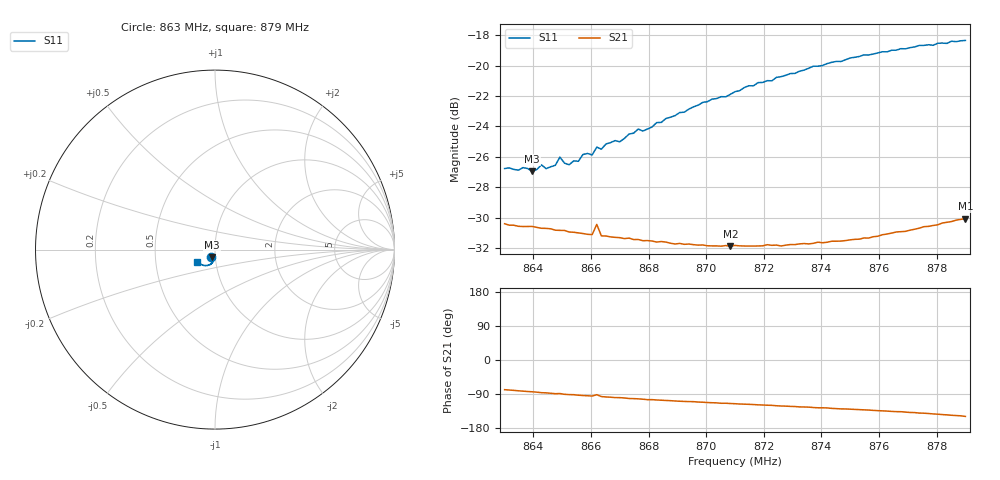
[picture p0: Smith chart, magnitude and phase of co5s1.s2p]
# HZ S RI R 50
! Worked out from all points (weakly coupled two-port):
!   101 points, 863 MHz to 879 MHz, reference 50 ohm
!   highest |S21| = -30.07 dB at 879 MHz (marker M1); lowest = -31.9 dB at 870.84 MHz (marker M2)
!   lowest |S11| = -27.0 dB at 863.96 MHz (marker M3), VSWR 1.09, Z = 48.2 - j4.03 ohm
!   |S11| at or under -10 dB: start of sweep to end of sweep
!   S12 and S22 are empty: the file has one direction only
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8.63e8  -0.0219 -0.0403  0.00611 -0.0296  0 0  0 0
8.6364e8  -0.0193 -0.0419  0.00402 -0.0293  0 0  0 0
8.6396e8  -0.0165 -0.0417  0.00315 -0.0294  0 0  0 0
8.6428e8  -0.0155 -0.0446  0.0019 -0.0291  0 0  0 0
8.6444e8  -0.0146 -0.0434  0.00168 -0.0291  0 0  0 0
8.6476e8  -0.0142 -0.0448  0.000537 -0.0287  0 0  0 0
8.6492e8  -0.015 -0.0477  0.000753 -0.0287  0 0  0 0
8.6524e8  -0.0118 -0.0457  -0.000651 -0.0283  0 0  0 0
8.6556e8  -0.0109 -0.0472  -0.00144 -0.0281  0 0  0 0
8.6572e8  -0.0101 -0.05  -0.00181 -0.028  0 0  0 0
8.6604e8  -0.0093 -0.05  -0.00249 -0.0277  0 0  0 0
8.662e8  -0.00322 -0.0539  -0.00082 -0.03  0 0  0 0
8.6636e8  -0.00992 -0.0522  -0.00312 -0.0273  0 0  0 0
8.6764e8  -0.0103 -0.061  -0.0058 -0.0261  0 0  0 0
8.678e8  -0.0101 -0.0601  -0.00615 -0.0258  0 0  0 0
8.6844e8  -0.0098 -0.0643  -0.00732 -0.0253  0 0  0 0
8.6988e8  -0.0148 -0.0743  -0.00937 -0.0239  0 0  0 0
8.7084e8  -0.0218 -0.0775  -0.0107 -0.0231  0 0  0 0
8.71e8  -0.0215 -0.0793  -0.011 -0.0231  0 0  0 0
8.7372e8  -0.044 -0.0894  -0.0151 -0.0212  0 0  0 0
8.7644e8  -0.074 -0.0847  -0.0201 -0.0196  0 0  0 0
8.79e8  -0.1013 -0.0663  -0.0268 -0.0162  0 0  0 0
